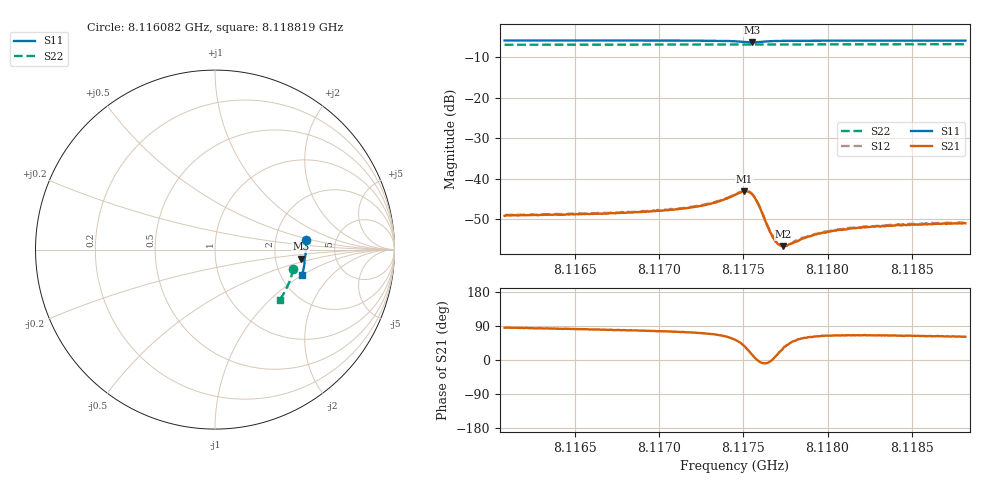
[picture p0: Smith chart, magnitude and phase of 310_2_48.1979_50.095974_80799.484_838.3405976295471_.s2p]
#  HZ  S  RI  R  50.00
! Rohde & Schwarz Vector Network Analyzer
! Rohde-Schwarz,ZNB20-2Port,1311601062101988,3.16
! Created: UTC 3/20/2024, 11:49:57 AM
! freq[Hz]  re:S11  im:S11  re:S21  im:S21  re:S12  im:S12  re:S22  im:S22
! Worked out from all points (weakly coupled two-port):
!   401 points, 8.116082 GHz to 8.118819 GHz, reference 50 ohm
!   highest |S21| = -43.16 dB at 8.117505 GHz (marker M1); lowest = -56.7 dB at 8.117738 GHz (marker M2)
!   lowest |S11| = -6.4 dB at 8.117553 GHz (marker M3), VSWR 2.85, Z = 140 - j18.6 ohm
!   |S11| at or under -10 dB: nowhere
!   |S22| runs from -7.0 to -6.8 dB; largest |S21 - S12| = 0.00022
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8.1160816e9  0.5046 0.0521  0.000291 0.00345  0.000322 0.00357  0.4356 -0.107
8.1165401e9  0.5063 0.0175  0.000557 0.00359  0.000596 0.00367  0.4284 -0.138
8.1169986e9  0.5054 -0.018  0.000989 0.00389  0.00103 0.00396  0.4186 -0.1684
8.1171287e9  0.5044 -0.0285  0.00119 0.00407  0.00126 0.00412  0.4155 -0.1768
8.1172724e9  0.5022 -0.0411  0.0016 0.00442  0.0017 0.00452  0.4116 -0.1862
8.117375e9  0.4984 -0.0511  0.00236 0.00487  0.00245 0.00494  0.4087 -0.193
8.1174503e9  0.492 -0.0585  0.00372 0.00508  0.00385 0.00512  0.4065 -0.1978
8.1175051e9  0.4827 -0.0598  0.00557 0.00417  0.00569 0.00421  0.4044 -0.2012
8.1175324e9  0.4784 -0.056  0.00624 0.00279  0.0064 0.00276  0.4037 -0.2025
8.117553e9  0.4777 -0.0513  0.00621 0.00147  0.00629 0.00143  0.4031 -0.2035
8.1175872e9  0.4822 -0.0454  0.00489 -0.000149  0.005 -0.000233  0.4024 -0.2054
8.1176488e9  0.4929 -0.0478  0.00244 -0.000282  0.00247 -0.000293  0.4012 -0.2092
8.1176762e9  0.4954 -0.051  0.00186 6.86e-05  0.00195 5.45e-05  0.4004 -0.2112
8.1177035e9  0.497 -0.0543  0.00151 0.00041  0.00155 0.000419  0.3997 -0.2131
8.1177377e9  0.4981 -0.0583  0.00124 0.000776  0.00128 0.000766  0.3986 -0.2152
8.1177788e9  0.4988 -0.0627  0.00109 0.0011  0.00113 0.00112  0.3973 -0.2177
8.1178472e9  0.499 -0.0693  0.000992 0.00152  0.00104 0.00155  0.3953 -0.2222
8.1179088e9  0.4986 -0.0751  0.000982 0.00173  0.000975 0.00177  0.3933 -0.226
8.1180115e9  0.4977 -0.0836  0.000954 0.00199  0.000969 0.00202  0.3899 -0.2325
8.118121e9  0.4963 -0.0925  0.001 0.00218  0.00103 0.00224  0.3862 -0.2393
8.1183673e9  0.4924 -0.1112  0.00113 0.00236  0.00115 0.00244  0.3774 -0.2541
8.118819e9  0.4834 -0.1442  0.00134 0.00246  0.00136 0.00254  0.36 -0.2806
